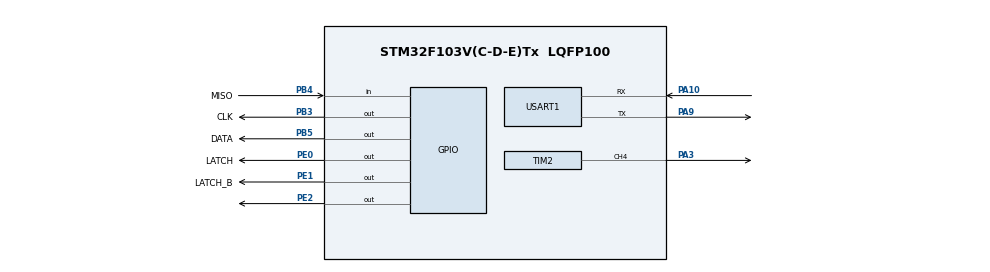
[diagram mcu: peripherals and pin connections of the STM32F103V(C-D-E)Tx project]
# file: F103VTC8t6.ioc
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Mcu.Family=STM32F1
Mcu.Name=STM32F103V(C-D-E)Tx
Mcu.Package=LQFP100
NVIC.PriorityGroup=NVIC_PRIORITYGROUP_4
NVIC.TIM2_IRQn=true\:2\:0\:true\:false\:true\:true\:true\:true
NVIC.USART1_IRQn=true\:0\:0\:false\:false\:true\:true\:true\:true
PA10.Mode=Asynchronous
PA10.Signal=USART1_RX
PA13.Mode=Serial_Wire
PA13.Signal=SYS_JTMS-SWDIO
PA14.Mode=Serial_Wire
PA14.Signal=SYS_JTCK-SWCLK
PA3.Signal=S_TIM2_CH4
PA9.Mode=Asynchronous
PA9.Signal=USART1_TX
PB3.GPIO_Label=CLK
PB3.GPIO_Speed=GPIO_SPEED_FREQ_LOW
PB3.Signal=GPIO_Output
PB4.GPIO_Label=MISO
PB4.Signal=GPIO_Input
PB5.GPIO_Label=DATA
PB5.GPIO_Speed=GPIO_SPEED_FREQ_LOW
PB5.Signal=GPIO_Output
PE0.GPIO_Label=LATCH
PE0.GPIO_Speed=GPIO_SPEED_FREQ_LOW
PE0.Signal=GPIO_Output
PE1.GPIO_Label=LATCH_B
PE1.Signal=GPIO_Output
PE2.Signal=GPIO_Output
ProjectManager.HeapSize=0x200
ProjectManager.StackSize=0x400
ProjectManager.TargetToolchain=MDK-ARM V5.32
RCC.APB1Freq_Value=8000000
RCC.APB2Freq_Value=8000000
SH.S_TIM2_CH4.0=TIM2_CH4,PWM Generation4 CH4
TIM2.Channel-PWM\ Generation4\ CH4=TIM_CHANNEL_4
TIM2.Period=99
TIM2.Prescaler=7
TIM2.Pulse-PWM\ Generation4\ CH4=20
USART1.VirtualMode=VM_ASYNC
VP_TIM2_VS_ClockSourceINT.Mode=Internal
board=custom

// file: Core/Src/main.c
/* USER CODE BEGIN Header */
/**
  ******************************************************************************
  * @file           : main.c
  * @brief          : Main program body
  ******************************************************************************
  * @attention
  *
  * Copyright (c) 2024 STMicroelectronics.
  * All rights reserved.
  *
  * This software is licensed under terms that can be found in the LICENSE file
  * in the root directory of this software component.
  * If no LICENSE file comes with this software, it is provided AS-IS.
  *
  ******************************************************************************
  */
/* USER CODE END Header */
#include "main.h"

/* USER CODE BEGIN Includes */
#include <stdio.h>
#include <string.h>
/* USER CODE END Includes */

TIM_HandleTypeDef htim2;

UART_HandleTypeDef huart1;

void SystemClock_Config(void);
static void MX_GPIO_Init(void);
static void MX_TIM2_Init(void);
static void MX_USART1_UART_Init(void);

/* USER CODE BEGIN 0 */
char button1 =0, button2 = 0 , button3 = 0 ,button4 =0 ;
char data165 = 0xFF;
uint16_t var=0;
static int8_t a1=0;
static int8_t a2=0;
static uint8_t seed = 0;
static uint8_t a3=3;

// bien uart
uint8_t rx_data;
uint8_t index_rx=0;
uint8_t rx_buffer[2];

// bien nhan gia tri so nguyen
uint16_t ms =0;

// bien quet led
uint8_t ledValues[4];
//------------------------------------------------------

// Ham chuyen doi gia tri mang thanh so nguyen
uint16_t docSoTuMang(uint8_t mang[], int doDai) {
    uint16_t ms = 0; // Khai báo bi?n s? nguyên c?c b? và kh?i t?o b?ng 0
    for (int i = 0; i < doDai; i++) {
        if (mang[i] >= '0' && mang[i] <= '9') { // Ki?m tra ký t? có ph?i là s? không
            ms = ms * 10 + (mang[i] - '0'); // Chuy?n d?i ký t? thành s? nguyên và c?ng vào bi?n s? nguyên
        }
    }
    return ms; // Tr? v? giá tr? s? nguyên
}

//Ham tao so ngay nhien tu 0-9
uint8_t random_value() {
    seed = (seed * 1103515245 + 12345) % 10;
    return seed;
}

void UART_Send_Value(int value) {
    char buffer[3]; // Tao mang co kieu ky tu chua gia tri, bao gom 2 chu so và ký tu ket thúc chuoi("55 ")
    snprintf(buffer, sizeof(buffer), "%02d", value); // Format gia tri thanh chuoi(55)
    HAL_UART_Transmit(&huart1, (uint8_t *)buffer, strlen(buffer), HAL_MAX_DELAY); // Gui chuoi qua UART (55)
}

// Khai bao ham dua gia tri len Terminal may tinh.
void send_count_to_terminal(int8_t tens, int8_t ones) {
		UART_Send_Value(tens * 10 + ones); // Gui giá tri(55) qua UART
}

//Ham xuat gia tri led ra chan PB5
//Ham doc vi tri led va gia tri led--> ten ham led(doi so vi tri, doi so gia tri led)
unsigned char maled_cc[10] = {0xAF, 0xA0, 0x6E, 0xEA, 0xE1, 0xCB, 0xCF, 0xA2, 0xEF, 0xEB};
unsigned char led_position[5] = { 0x08, 0x10,0x20,0x40,0x80};  //Vi Tri Quet Led
void led(uint8_t vi_tri, uint8_t sang_led)
{
	for( uint8_t i=0; i<8;i++)
	{
		HAL_GPIO_WritePin(DATA_GPIO_Port,DATA_Pin,(led_position[vi_tri]&(0x80>>i)));

		HAL_GPIO_WritePin(GPIOB,GPIO_PIN_3, GPIO_PIN_SET);
		HAL_GPIO_WritePin(GPIOB,GPIO_PIN_3, GPIO_PIN_RESET);
	}
	for( uint8_t i=0; i<8;i++)
	{
		HAL_GPIO_WritePin(DATA_GPIO_Port,DATA_Pin,(maled_cc[sang_led]&(0x80>>i)));
		HAL_GPIO_WritePin(GPIOB,GPIO_PIN_3, GPIO_PIN_SET);
		HAL_GPIO_WritePin(GPIOB,GPIO_PIN_3, GPIO_PIN_RESET);
	}
	HAL_GPIO_WritePin(GPIOE,GPIO_PIN_0, GPIO_PIN_SET);
	HAL_GPIO_WritePin(GPIOE,GPIO_PIN_0, GPIO_PIN_RESET);
}

//Ham lay gia 8 bit doc vao tu chan PB4
	void get_data165(){
	HAL_GPIO_WritePin( LATCH_B_GPIO_Port,LATCH_B_Pin,1);
	HAL_GPIO_WritePin( LATCH_B_GPIO_Port,LATCH_B_Pin,0);
	HAL_GPIO_WritePin( LATCH_B_GPIO_Port,LATCH_B_Pin,1);
	for(uint8_t i = 0; i<=7; i++){
		if(HAL_GPIO_ReadPin( 	MISO_GPIO_Port, MISO_Pin)==0)
			data165 &=~(1<<(7-i));
		else data165 |=(1<<(7-i));

		HAL_GPIO_WritePin(GPIOB,GPIO_PIN_3, GPIO_PIN_SET);
		HAL_GPIO_WritePin(GPIOB,GPIO_PIN_3, GPIO_PIN_RESET);
	}
}

// ham quet led
void scanLEDs() {
    for(int i = 0; i < 5; i++) {
        led(i, ledValues[i]); // Su dung giá tri LED trong mang ledValues
        HAL_Delay(1); // Delay de hien thi LED
    }
}

void displayTimeOn7Segment(uint32_t time) {
    char displayBuffer[8];
    sprintf(displayBuffer, "%05lu", (unsigned long) time);
		for(int i = 0; i < 5; i++) {
       	ledValues[i] = displayBuffer[i] - '0'; // Luu giá tri LED vào mang
    }
		scanLEDs();

}

//Ham xu ly khi nhan nut.
void raise_value()
{
//Ham lua chon
	get_data165();
	//Nut nhan 2(dk_1)
	if((data165 & (1<<5)) == 0 && button2==0)
	{
		//caulenh_1.0
		button2 = 1; a1++ ;
		//dk_1.1
		if(a1==10){
			a1=0; a2++;
		}
		//dk_1.2
		if(a1 == -1) {
			a1 = 9; a2--;
		}
		//caulenh1.3
		send_count_to_terminal(a2, a1); // doi so vao a2=5, a1=5
	}
	else if((data165 & (1<<5))== (1<<5) && button2 == 1 )
	{
		button2 = 0;
	}

	//Nut nhan 3(dk_2)
	if((data165 & (1<<6)) == 0 && button3==0)
	{
		button3=1 ; a1++ ;
		if(a1==10){
			a1=0; a2++;
		}
		if(a1 == -1) {
			a1 = 9; a2--;
		}
		send_count_to_terminal(a2, a1); // doi so vao a2=5, a1=5
	}
	else if((data165 & (1<<6)) == (1<<6) && button3 == 1 )
	{
		button3=0;
	}
	//Nut nhan 4
	if((data165 & (1<<7)) == 0 && button4==0)
	{
		button4 = 1 ; a1-- ;
		if(a1==10){
			a1=0; a2++;
		}
		if(a1 == -1) {
			a1 = 9; a2--;
		}
		send_count_to_terminal(a2, a1); // doi so vao a2=5, a1=5
	}
	else if((data165 & (1<<7))== (1<<7) && button4 == 1 )
	{
		button4 = 0;
	}

//Ham thuc thi chinh.
led(0, a2);//a2: hang chuc, a1 hang don vi
led(1, a1);// Ham tra ve led sang vi tri 0-->2, gia tri moi led tu (0-->9).

}
// Ham PWM
void set_compare_value(uint32_t PWM)
{
    __HAL_TIM_SET_COMPARE(&htim2, TIM_CHANNEL_4, PWM);
		if (PWM>95)
		{
			HAL_GPIO_WritePin(GPIOE,GPIO_PIN_3, GPIO_PIN_SET);
		}
		else
			HAL_GPIO_WritePin(GPIOE,GPIO_PIN_3, GPIO_PIN_RESET);
}

//Ham truyen du lieu
// Ham truyen du lieu
void HAL_UART_RxCpltCallback(UART_HandleTypeDef *huart) {
    if (huart->Instance == USART1) {
        if (rx_data == '\n') {
            HAL_UART_Transmit(&huart1, (uint8_t *)rx_buffer, index_rx, 100); // gui du lieu da nhan
            memset(rx_buffer, 0, sizeof(rx_buffer)); // xoa du lieu trong mang rx_buffer
            index_rx = 0; // dat lai index_rx chuan bi cho du lieu tiep theo
        } else {
            rx_buffer[index_rx++] = rx_data; // luu ky tu vao mang rx_bufer
						ms= docSoTuMang(rx_buffer, sizeof(rx_buffer));// ms tra ve 00->99.
						displayTimeOn7Segment(ms);
            // Kiem tra xem mang dã day chua
            if (index_rx >= sizeof(rx_buffer)) {
                // Neu da day, không làm gì cho xu lý tùy ý
            }
        }
        HAL_UART_Receive_IT(&huart1, &rx_data, 1); // Ti?p t?c nh?n d? li?u
    }
}
/* USER CODE END 0 */

int main(void)
{

  /* MCU Configuration--------------------------------------------------------*/

  /* Reset of all peripherals, Initializes the Flash interface and the Systick. */
  HAL_Init();

  /* Configure the system clock */
  SystemClock_Config();

  /* Initialize all configured peripherals */
  MX_GPIO_Init();
  MX_TIM2_Init();
  MX_USART1_UART_Init();
  /* USER CODE BEGIN 2 */
	HAL_TIM_PWM_Start(&htim2, TIM_CHANNEL_4);
	HAL_UART_Receive_IT(&huart1, &rx_data, 1);
  /* USER CODE END 2 */

  /* Infinite loop */
  /* USER CODE BEGIN WHILE */
	HAL_GPIO_WritePin(GPIOB,GPIO_PIN_3, GPIO_PIN_RESET);
	HAL_GPIO_WritePin(GPIOE,GPIO_PIN_0, GPIO_PIN_RESET);
	HAL_GPIO_WritePin(GPIOE,GPIO_PIN_2, GPIO_PIN_RESET);

  while (1)
  {
// 	Ham thay doi gia tri cua PWM.
//set_compare_value(ms);

// Ham thay doi chu ky timer
//		__HAL_TIM_SET_AUTORELOAD(&htim2, 500);

		//raise_value();

    /* USER CODE END WHILE */

  }
}

void SystemClock_Config(void)
{
  RCC_OscInitTypeDef RCC_OscInitStruct = {0};
  RCC_ClkInitTypeDef RCC_ClkInitStruct = {0};

  /** Initializes the RCC Oscillators according to the specified parameters
  * in the RCC_OscInitTypeDef structure.
  */
  RCC_OscInitStruct.OscillatorType = RCC_OSCILLATORTYPE_HSI;
  RCC_OscInitStruct.HSIState = RCC_HSI_ON;
  RCC_OscInitStruct.HSICalibrationValue = RCC_HSICALIBRATION_DEFAULT;
  RCC_OscInitStruct.PLL.PLLState = RCC_PLL_NONE;
  if (HAL_RCC_OscConfig(&RCC_OscInitStruct) != HAL_OK)
  {
    Error_Handler();
  }

  /** Initializes the CPU, AHB and APB buses clocks
  */
  RCC_ClkInitStruct.ClockType = RCC_CLOCKTYPE_HCLK|RCC_CLOCKTYPE_SYSCLK
                              |RCC_CLOCKTYPE_PCLK1|RCC_CLOCKTYPE_PCLK2;
  RCC_ClkInitStruct.SYSCLKSource = RCC_SYSCLKSOURCE_HSI;
  RCC_ClkInitStruct.AHBCLKDivider = RCC_SYSCLK_DIV1;
  RCC_ClkInitStruct.APB1CLKDivider = RCC_HCLK_DIV1;
  RCC_ClkInitStruct.APB2CLKDivider = RCC_HCLK_DIV1;

  if (HAL_RCC_ClockConfig(&RCC_ClkInitStruct, FLASH_LATENCY_0) != HAL_OK)
  {
    Error_Handler();
  }
}

static void MX_TIM2_Init(void)
{

  TIM_ClockConfigTypeDef sClockSourceConfig = {0};
  TIM_MasterConfigTypeDef sMasterConfig = {0};
  TIM_OC_InitTypeDef sConfigOC = {0};

  htim2.Instance = TIM2;
  htim2.Init.Prescaler = 7;
  htim2.Init.CounterMode = TIM_COUNTERMODE_UP;
  htim2.Init.Period = 99;
  htim2.Init.ClockDivision = TIM_CLOCKDIVISION_DIV1;
  htim2.Init.AutoReloadPreload = TIM_AUTORELOAD_PRELOAD_DISABLE;
  if (HAL_TIM_Base_Init(&htim2) != HAL_OK)
  {
    Error_Handler();
  }
  sClockSourceConfig.ClockSource = TIM_CLOCKSOURCE_INTERNAL;
  if (HAL_TIM_ConfigClockSource(&htim2, &sClockSourceConfig) != HAL_OK)
  {
    Error_Handler();
  }
  if (HAL_TIM_PWM_Init(&htim2) != HAL_OK)
  {
    Error_Handler();
  }
  sMasterConfig.MasterOutputTrigger = TIM_TRGO_RESET;
  sMasterConfig.MasterSlaveMode = TIM_MASTERSLAVEMODE_DISABLE;
  if (HAL_TIMEx_MasterConfigSynchronization(&htim2, &sMasterConfig) != HAL_OK)
  {
    Error_Handler();
  }
  sConfigOC.OCMode = TIM_OCMODE_PWM1;
  sConfigOC.Pulse = 20;
  sConfigOC.OCPolarity = TIM_OCPOLARITY_HIGH;
  sConfigOC.OCFastMode = TIM_OCFAST_DISABLE;
  if (HAL_TIM_PWM_ConfigChannel(&htim2, &sConfigOC, TIM_CHANNEL_4) != HAL_OK)
  {
    Error_Handler();
  }
  HAL_TIM_MspPostInit(&htim2);

}

static void MX_USART1_UART_Init(void)
{

  huart1.Instance = USART1;
  huart1.Init.BaudRate = 115200;
  huart1.Init.WordLength = UART_WORDLENGTH_8B;
  huart1.Init.StopBits = UART_STOPBITS_1;
  huart1.Init.Parity = UART_PARITY_NONE;
  huart1.Init.Mode = UART_MODE_TX_RX;
  huart1.Init.HwFlowCtl = UART_HWCONTROL_NONE;
  huart1.Init.OverSampling = UART_OVERSAMPLING_16;
  if (HAL_UART_Init(&huart1) != HAL_OK)
  {
    Error_Handler();
  }

}

static void MX_GPIO_Init(void)
{
  GPIO_InitTypeDef GPIO_InitStruct = {0};

  /* GPIO Ports Clock Enable */
  __HAL_RCC_GPIOE_CLK_ENABLE();
  __HAL_RCC_GPIOA_CLK_ENABLE();
  __HAL_RCC_GPIOB_CLK_ENABLE();

  /*Configure GPIO pin Output Level */
  HAL_GPIO_WritePin(GPIOE, GPIO_PIN_2|LATCH_Pin|LATCH_B_Pin, GPIO_PIN_RESET);

  /*Configure GPIO pin Output Level */
  HAL_GPIO_WritePin(GPIOB, CLK_Pin|DATA_Pin, GPIO_PIN_RESET);

  /*Configure GPIO pins : PE2 LATCH_Pin LATCH_B_Pin */
  GPIO_InitStruct.Pin = GPIO_PIN_2|LATCH_Pin|LATCH_B_Pin;
  GPIO_InitStruct.Mode = GPIO_MODE_OUTPUT_PP;
  GPIO_InitStruct.Pull = GPIO_NOPULL;
  GPIO_InitStruct.Speed = GPIO_SPEED_FREQ_LOW;
  HAL_GPIO_Init(GPIOE, &GPIO_InitStruct);

  /*Configure GPIO pins : CLK_Pin DATA_Pin */
  GPIO_InitStruct.Pin = CLK_Pin|DATA_Pin;
  GPIO_InitStruct.Mode = GPIO_MODE_OUTPUT_PP;
  GPIO_InitStruct.Pull = GPIO_NOPULL;
  GPIO_InitStruct.Speed = GPIO_SPEED_FREQ_LOW;
  HAL_GPIO_Init(GPIOB, &GPIO_InitStruct);

  /*Configure GPIO pin : MISO_Pin */
  GPIO_InitStruct.Pin = MISO_Pin;
  GPIO_InitStruct.Mode = GPIO_MODE_INPUT;
  GPIO_InitStruct.Pull = GPIO_NOPULL;
  HAL_GPIO_Init(MISO_GPIO_Port, &GPIO_InitStruct);

}

void Error_Handler(void)
{
  __disable_irq();
  while (1)
  {
  }
}
